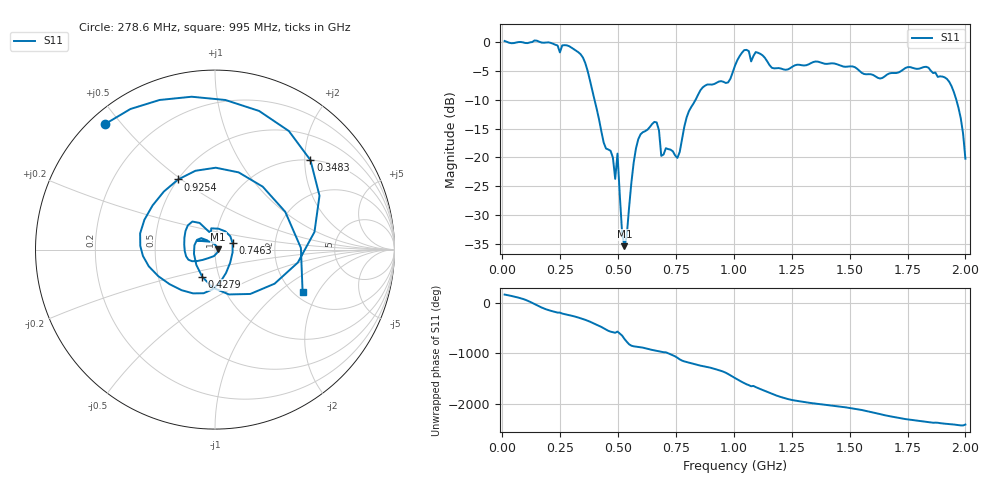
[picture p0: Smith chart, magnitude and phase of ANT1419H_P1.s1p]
!Created with skrf (http://scikit-rf.org).
# Hz S RI R 50.0
!freq ReS11 ImS11
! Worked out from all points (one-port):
!   201 points, 10 MHz to 2 GHz, reference 50 ohm
!   lowest |S11| = -35.3 dB at 527.4 MHz (marker M1), VSWR 1.03, Z = 51.7 + j0.228 ohm
!   |S11| at or under -10 dB: 398 MHz to 835.2 MHz (437.3 MHz wide, 70.9 % of centre); 1.961 GHz to end of sweep
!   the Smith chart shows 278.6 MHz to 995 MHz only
!   S11 on the Smith chart (normalised r, x): 278.6 MHz: 0.04, +0.45; 348.3 MHz: 1.00, +2.13; 427.9 MHz: 0.83, -0.26; 746.3 MHz: 1.21, +0.09; 925.4 MHz: 0.50, +0.49; 995 MHz: 2.21, -1.49
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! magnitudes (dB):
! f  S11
! 10 MHz  0.1
! 258.8 MHz  -0.6
! 278.6 MHz  -0.6
! 348.3 MHz  -2.7
! 427.9 MHz  -15.5
! 477.6 MHz  -20.0
! 487.6 MHz  -23.7
! 497.6 MHz  -19.3
! 507.5 MHz  -26.5
! 517.5 MHz  -33.0
! 527.4 MHz  -35.3
! 567.2 MHz  -21.0
! 597 MHz  -16.0
! 666.7 MHz  -13.9
! 686.6 MHz  -19.7
! 746.3 MHz  -19.6
! 756.2 MHz  -20.1
! 806 MHz  -12.0
! 925.4 MHz  -7.1
! 995 MHz  -5.3
! 1.005 GHz  -4.1
! 1.055 GHz  -1.4
! 1.254 GHz  -4.3
! 1.502 GHz  -4.3
! 1.751 GHz  -4.4
! 1.93 GHz  -6.9
! 1.98 GHz  -13.2
! 2 GHz  -20.2
